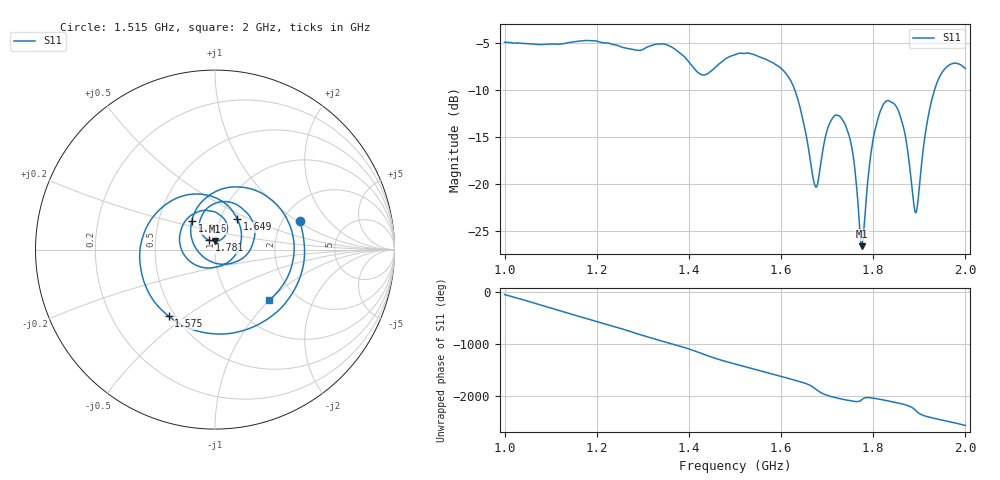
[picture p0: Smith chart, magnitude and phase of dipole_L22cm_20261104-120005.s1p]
! Dipole length 22 cm, measured 20261104-120005
# GHZ S RI R 50.000000000000
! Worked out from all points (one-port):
!   1001 points, 1 GHz to 2 GHz, reference 50 ohm
!   lowest |S11| = -26.7 dB at 1.775 GHz (marker M1), VSWR 1.10, Z = 49.7 + j4.63 ohm
!   |S11| at or under -10 dB: 1.63 GHz to 1.933 GHz (302.9 MHz wide, 17 % of centre)
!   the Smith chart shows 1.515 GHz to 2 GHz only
!   S11 on the Smith chart (normalised r, x): 1.515 GHz: 2.46, +1.05; 1.575 GHz: 0.46, -0.43; 1.649 GHz: 1.20, +0.43; 1.781 GHz: 0.93, +0.10; 1.916 GHz: 0.74, +0.25; 2 GHz: 1.46, -1.00
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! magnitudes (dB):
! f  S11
! 1 GHz  -4.9
! 1.125 GHz  -5.1
! 1.25 GHz  -5.3
! 1.375 GHz  -5.8
! 1.431 GHz  -8.4
! 1.5 GHz  -6.2
! 1.515 GHz  -6.1
! 1.575 GHz  -6.9
! 1.625 GHz  -9.4
! 1.649 GHz  -13.5
! 1.675 GHz  -20.3
! 1.698 GHz  -14.6
! 1.713 GHz  -12.9
! 1.732 GHz  -13.1
! 1.75 GHz  -15.3
! 1.759 GHz  -17.9
! 1.775 GHz  -26.7
! 1.781 GHz  -24.1
! 1.799 GHz  -15.4
! 1.823 GHz  -11.4
! 1.852 GHz  -11.9
! 1.875 GHz  -16.6
! 1.888 GHz  -22.1
! 1.893 GHz  -23.0
! 1.916 GHz  -13.7
! 1.932 GHz  -10.1
! 1.951 GHz  -8.0
! 2 GHz  -7.7
